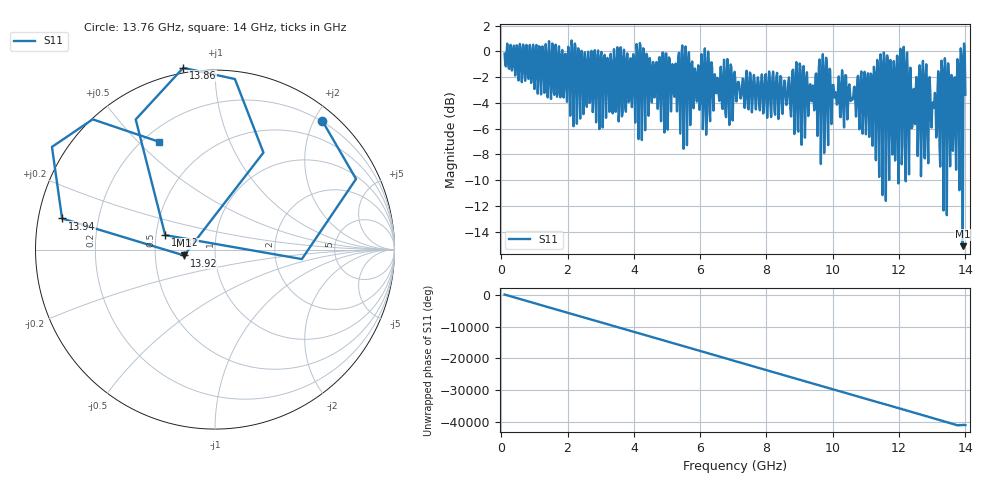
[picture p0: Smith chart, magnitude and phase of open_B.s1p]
!Keysight Technologies,E5080B,MY59100652,A.14.10.03
!Date: Wednesday, May 25, 2022 16:49:35
!Correction: S22(Off)
!S1P File: Measurement: :
# Hz S  RI  R 50
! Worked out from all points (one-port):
!   696 points, 100 MHz to 14 GHz, reference 50 ohm
!   lowest |S11| = -15.1 dB at 13.92 GHz (marker M1), VSWR 1.43, Z = 35.2 - j2.37 ohm
!   |S11| at or under -10 dB: 11.49623 GHz to 11.50268 GHz (6.449 MHz wide, 0.0561 % of centre); 11.59553 GHz to 11.6037 GHz (8.178 MHz wide, 0.0705 % of centre); 11.97938 GHz to 11.98116 GHz (1.778 MHz wide, 0.0148 % of centre) (the widest 3 of 8)
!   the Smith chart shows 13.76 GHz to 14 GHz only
!   S11 on the Smith chart (normalised r, x): 13.76 GHz: 0.19, +2.13; 13.82 GHz: 0.56, +0.10; 13.86 GHz: -0.02, +0.84; 13.92 GHz: 0.70, -0.05; 13.94 GHz: 0.07, +0.10; 14 GHz: 0.26, +0.58
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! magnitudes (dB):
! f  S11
! 100 MHz  -0.2
! 1.84 GHz  0.1
! 3.58 GHz  -0.7
! 5.32 GHz  -3.0
! 7.06 GHz  -2.3
! 8.8 GHz  -1.4
! 10.54 GHz  -3.9
! 11.34 GHz  -0.7
! 11.4 GHz  -9.7
! 11.44 GHz  -0.2
! 11.5 GHz  -11.2
! 11.54 GHz  -0.1
! 11.9 GHz  -6.4
! 11.94 GHz  -0.3
! 12.08 GHz  -8.8
! 12.24 GHz  -0.1
! 12.28 GHz  -6.2
! 13.24 GHz  -8.9
! 13.28 GHz  -0.7
! 13.34 GHz  -12.4
! 13.38 GHz  -0.5
! 13.72 GHz  -9.2
! 13.76 GHz  -0.6
! 13.82 GHz  -10.8
! 13.86 GHz  0.2
! 13.92 GHz  -15.1
! 13.94 GHz  -1.2
! 14 GHz  -3.4
